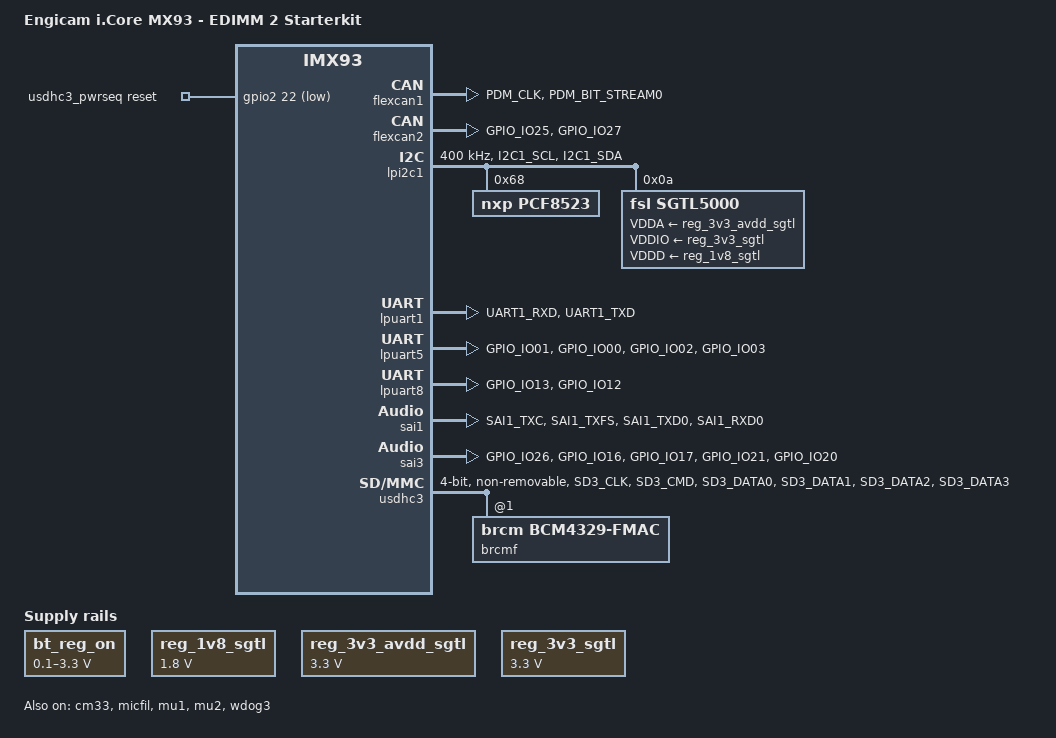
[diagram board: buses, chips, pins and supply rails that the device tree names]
// SPDX-License-Identifier: (GPL-2.0+ OR MIT)
/*
 * Copyright 2022 NXP
 * Copyright 2024 Engicam s.r.l.
 */

/dts-v1/;

#include "imx93-icore-mx93.dtsi"

/ {
	model = "Engicam i.Core MX93 - EDIMM 2 Starterkit";
	compatible = "engicam,icore-mx93-edimm2", "engicam,icore-mx93",
		     "fsl,imx93";

	aliases {
		rtc1 = &bbnsm_rtc;
	};

	bt_reg_on: regulator-btregon {
		compatible = "regulator-gpio";
		regulator-name = "BT_REG_ON";
		regulator-min-microvolt = <100000>;
		regulator-max-microvolt = <3300000>;
		states = <3300000 0x1>, <100000 0x0>;
		gpios = <&gpio2 19 GPIO_ACTIVE_HIGH>;
	};

	chosen {
		stdout-path = &lpuart1;
	};

	reg_1v8_sgtl: regulator-1v8-sgtl {
		compatible = "regulator-fixed";
		regulator-name = "1v8_sgtl";
		regulator-min-microvolt = <1800000>;
		regulator-max-microvolt = <1800000>;
		regulator-always-on;
	};

	reg_3v3_avdd_sgtl: regulator-3v3-avdd-sgtl {
		compatible = "regulator-fixed";
		regulator-name = "3v3_avdd_sgtl";
		regulator-min-microvolt = <3300000>;
		regulator-max-microvolt = <3300000>;
		regulator-always-on;
	};

	reg_3v3_sgtl: regulator-3v3-sgtl {
		compatible = "regulator-fixed";
		regulator-name = "3v3_sgtl";
		regulator-min-microvolt = <3300000>;
		regulator-max-microvolt = <3300000>;
		regulator-always-on;
	};

	reserved-memory {
		#address-cells = <2>;
		#size-cells = <2>;
		ranges;

		linux,cma {
			compatible = "shared-dma-pool";
			reusable;
			alloc-ranges = <0 0x80000000 0 0x40000000>;
			size = <0 0x10000000>;
			linux,cma-default;
		};

		rsc_table: rsc-table@2021f000 {
			reg = <0 0x2021f000 0 0x1000>;
			no-map;
		};

		vdevbuffer: vdevbuffer@a4020000 {
			compatible = "shared-dma-pool";
			reg = <0 0xa4020000 0 0x100000>;
			no-map;
		};

		vdev0vring0: vdev0vring0@a4000000 {
			reg = <0 0xa4000000 0 0x8000>;
			no-map;
		};

		vdev0vring1: vdev0vring1@a4008000 {
			reg = <0 0xa4008000 0 0x8000>;
			no-map;
		};

		vdev1vring0: vdev1vring0@a4000000 {
			reg = <0 0xa4010000 0 0x8000>;
			no-map;
		};

		vdev1vring1: vdev1vring1@a4018000 {
			reg = <0 0xa4018000 0 0x8000>;
			no-map;
		};
	};

	sound {
		compatible = "simple-audio-card";
		simple-audio-card,name = "imx93-sgtl5000";
		simple-audio-card,format = "i2s";
		simple-audio-card,bitclock-master = <&dailink_master>;
		simple-audio-card,frame-master = <&dailink_master>;
		/*simple-audio-card,mclk-fs = <1>;*/
		simple-audio-card,cpu {
			sound-dai = <&sai3>;
		};

		dailink_master: simple-audio-card,codec {
			sound-dai = <&sgtl5000>;
			clocks = <&clk IMX93_CLK_SAI3_IPG>;
		};
	};

	usdhc3_pwrseq: usdhc3-pwrseq {
		compatible = "mmc-pwrseq-simple";
		pinctrl-names = "default";
		pinctrl-0 = <&pinctrl_usdhc3_pwrseq>;
		reset-gpios = <&gpio2 22 GPIO_ACTIVE_LOW>;
	};
};

&cm33 {
	mbox-names = "tx", "rx", "rxdb";
	mboxes = <&mu1 0 1>,
		 <&mu1 1 1>,
		 <&mu1 3 1>;
	memory-region = <&vdevbuffer>, <&vdev0vring0>, <&vdev0vring1>,
			<&vdev1vring0>, <&vdev1vring1>, <&rsc_table>;
	status = "okay";
};

&flexcan1 {
	pinctrl-names = "default";
	pinctrl-0 = <&pinctrl_flexcan1>;
	fsl,stop-mode = <&aonmix_ns_gpr 0x10 4>;
	status = "okay";
};

&flexcan2 {
	pinctrl-names = "default";
	pinctrl-0 = <&pinctrl_flexcan2>;
	fsl,stop-mode = <&aonmix_ns_gpr 0x10 4>;
	status = "okay";
};

&lpi2c1 {
	#address-cells = <1>;
	#size-cells = <0>;
	clock-frequency = <400000>;
	pinctrl-names = "default", "sleep";
	pinctrl-0 = <&pinctrl_lpi2c1>;
	pinctrl-1 = <&pinctrl_lpi2c1>;
	status = "okay";

	pcf8523: rtc@68 {
		compatible = "nxp,pcf8523";
		reg = <0x68>;
	};

	sgtl5000: codec@a {
		compatible = "fsl,sgtl5000";
		status = "okay";
		#sound-dai-cells = <0>;
		reg = <0x0a>;
		clocks = <&clk IMX93_CLK_SAI3_GATE>;
		VDDA-supply = <&reg_3v3_avdd_sgtl>;
		VDDIO-supply = <&reg_3v3_sgtl>;
		VDDD-supply = <&reg_1v8_sgtl>;
	};
};

&lpuart1 { /* console */
	pinctrl-names = "default";
	pinctrl-0 = <&pinctrl_uart1>;
	status = "okay";
};

&lpuart5 { /* RS485 */
	pinctrl-names = "default";
	pinctrl-0 = <&pinctrl_uart5>;
	status = "okay";
};

&lpuart8 { /* RS232 */
	pinctrl-names = "default";
	pinctrl-0 = <&pinctrl_uart8>;
	status = "okay";
};

&micfil {
	#sound-dai-cells = <0>;
	assigned-clocks = <&clk IMX93_CLK_PDM>;
	assigned-clock-parents = <&clk IMX93_CLK_AUDIO_PLL>;
	assigned-clock-rates = <196608000>;
	status = "okay";
};

&mu1 {
	status = "okay";
};

&mu2 {
	status = "okay";
};

&sai1 {
	#sound-dai-cells = <0>;
	pinctrl-names = "default";
	pinctrl-0 = <&pinctrl_sai1>;
	assigned-clocks = <&clk IMX93_CLK_SAI1>;
	assigned-clock-parents = <&clk IMX93_CLK_AUDIO_PLL>;
	assigned-clock-rates = <12288000>;
	status = "okay";
};

&sai3 {
	pinctrl-names = "default";
	#sound-dai-cells = <0>;
	pinctrl-0 = <&pinctrl_sai3>;
	assigned-clocks = <&clk IMX93_CLK_SAI3>;
	assigned-clock-parents = <&clk IMX93_CLK_AUDIO_PLL>;
	assigned-clock-rates = <24576000>;
	fsl,sai-mclk-direction-output;
	status = "okay";
};

&usdhc3 { /* WiFi */
	pinctrl-names = "default", "state_100mhz", "state_200mhz";
	pinctrl-0 = <&pinctrl_usdhc3>;
	pinctrl-1 = <&pinctrl_usdhc3>;
	pinctrl-2 = <&pinctrl_usdhc3>;
	mmc-pwrseq = <&usdhc3_pwrseq>;
	bus-width = <4>;
	no-1-8-v;
	non-removable;
	max-frequency = <25000000>;
	status = "okay";

	#address-cells = <1>;
	#size-cells = <0>;

	brcmf: bcrmf@1 {
		reg = <1>;
		compatible = "brcm,bcm4329-fmac";
	};
};

&wdog3 {
	status = "okay";
};

&iomuxc {
	pinctrl_bluetooth: bluetoothgrp {
		fsl,pins = <
			MX93_PAD_GPIO_IO19__GPIO2_IO19		0x31e // BT_REG_ON
		>;
	};

	pinctrl_flexcan1: flexcan1grp {
		fsl,pins = <
			MX93_PAD_PDM_CLK__CAN1_TX		0x139e
			MX93_PAD_PDM_BIT_STREAM0__CAN1_RX	0x139e
		>;
	};

	pinctrl_flexcan2: flexcan2grp {
		fsl,pins = <
			MX93_PAD_GPIO_IO25__CAN2_TX	0x139e
			MX93_PAD_GPIO_IO27__CAN2_RX	0x139e
		>;
	};

	pinctrl_lpi2c1: lpi2c1grp {
		fsl,pins = <
			MX93_PAD_I2C1_SCL__LPI2C1_SCL		0x40000b9e
			MX93_PAD_I2C1_SDA__LPI2C1_SDA		0x40000b9e
		>;
	};

	pinctrl_sai1: sai1grp {
		fsl,pins = <
			MX93_PAD_SAI1_TXC__SAI1_TX_BCLK		0x31e
			MX93_PAD_SAI1_TXFS__SAI1_TX_SYNC	0x31e
			MX93_PAD_SAI1_TXD0__SAI1_TX_DATA00	0x31e
			MX93_PAD_SAI1_RXD0__SAI1_RX_DATA00	0x31e
		>;
	};

	pinctrl_sai3: sai3grp {
		fsl,pins = <
			MX93_PAD_GPIO_IO26__SAI3_TX_SYNC	0x31e
			MX93_PAD_GPIO_IO16__SAI3_TX_BCLK	0x31e
			MX93_PAD_GPIO_IO17__SAI3_MCLK		0x31e
			MX93_PAD_GPIO_IO21__SAI3_TX_DATA00	0x31e
			MX93_PAD_GPIO_IO20__SAI3_RX_DATA00	0x31e
		>;
	};

	pinctrl_uart1: uart1grp {
		fsl,pins = <
			MX93_PAD_UART1_RXD__LPUART1_RX		0x31e
			MX93_PAD_UART1_TXD__LPUART1_TX		0x31e
		>;
	};

	pinctrl_uart5: uart5grp {
		fsl,pins = <
			MX93_PAD_GPIO_IO01__LPUART5_RX		0x31e
			MX93_PAD_GPIO_IO00__LPUART5_TX		0x31e
			MX93_PAD_GPIO_IO02__LPUART5_CTS_B	0x31e
			MX93_PAD_GPIO_IO03__LPUART5_RTS_B	0x31e
		>;
	};

	pinctrl_uart8: uart8grp {
		fsl,pins = <
			MX93_PAD_GPIO_IO13__LPUART8_RX		0x31e
			MX93_PAD_GPIO_IO12__LPUART8_TX		0x31e
		>;
	};

	pinctrl_usdhc3: usdhc3grp {
		fsl,pins = <
			MX93_PAD_SD3_CLK__USDHC3_CLK		0x17fe
			MX93_PAD_SD3_CMD__USDHC3_CMD		0x13fe
			MX93_PAD_SD3_DATA0__USDHC3_DATA0	0x13fe
			MX93_PAD_SD3_DATA1__USDHC3_DATA1        0x13fe
			MX93_PAD_SD3_DATA2__USDHC3_DATA2        0x13fe
			MX93_PAD_SD3_DATA3__USDHC3_DATA3        0x13fe
		>;
	};

	pinctrl_usdhc3_pwrseq: usdhc3pwrseqgrp {
		fsl,pins = <
			MX93_PAD_GPIO_IO22__GPIO2_IO22		0x31e // WL_REG_ON
		>;
	};

};
